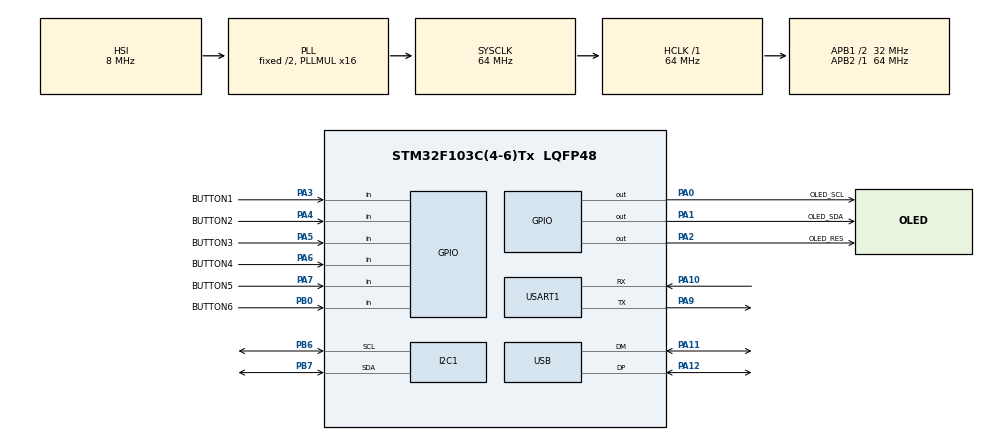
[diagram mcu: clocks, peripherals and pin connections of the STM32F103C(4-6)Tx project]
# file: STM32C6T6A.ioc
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Mcu.Family=STM32F1
Mcu.Name=STM32F103C(4-6)Tx
Mcu.Package=LQFP48
NVIC.PriorityGroup=NVIC_PRIORITYGROUP_4
PA0-WKUP.GPIO_Label=OLED_SCL
PA0-WKUP.Signal=GPIO_Output
PA1.GPIO_Label=OLED_SDA
PA1.Signal=GPIO_Output
PA10.Mode=Asynchronous
PA10.Signal=USART1_RX
PA11.Mode=Device
PA11.Signal=USB_DM
PA12.Mode=Device
PA12.Signal=USB_DP
PA13.Mode=Trace_Asynchronous_SW
PA13.Signal=SYS_JTMS-SWDIO
PA14.Mode=Trace_Asynchronous_SW
PA14.Signal=SYS_JTCK-SWCLK
PA2.GPIO_Label=OLED_RES
PA2.Signal=GPIO_Output
PA3.GPIO_Label=BUTTON1
PA3.GPIO_PuPd=GPIO_PULLDOWN
PA3.Signal=GPIO_Input
PA4.GPIO_Label=BUTTON2
PA4.GPIO_PuPd=GPIO_PULLDOWN
PA4.Signal=GPIO_Input
PA5.GPIO_Label=BUTTON3
PA5.GPIO_PuPd=GPIO_PULLDOWN
PA5.Signal=GPIO_Input
PA6.GPIO_Label=BUTTON4
PA6.GPIO_PuPd=GPIO_PULLDOWN
PA6.Signal=GPIO_Input
PA7.GPIO_Label=BUTTON5
PA7.GPIO_PuPd=GPIO_PULLDOWN
PA7.Signal=GPIO_Input
PA9.Mode=Asynchronous
PA9.Signal=USART1_TX
PB0.GPIO_Label=BUTTON6
PB0.GPIO_PuPd=GPIO_PULLDOWN
PB0.Signal=GPIO_Input
PB3.Mode=Trace_Asynchronous_SW
PB3.Signal=SYS_JTDO-TRACESWO
PB6.Mode=I2C
PB6.Signal=I2C1_SCL
PB7.Mode=I2C
PB7.Signal=I2C1_SDA
ProjectManager.HeapSize=0x200
ProjectManager.StackSize=0x400
ProjectManager.TargetToolchain=MDK-ARM V5.32
RCC.AHBFreq_Value=64000000
RCC.APB1CLKDivider=RCC_HCLK_DIV2
RCC.APB1Freq_Value=32000000
RCC.APB1TimFreq_Value=64000000
RCC.APB2Freq_Value=64000000
RCC.APB2TimFreq_Value=64000000
RCC.HCLKFreq_Value=64000000
RCC.PLLMUL=RCC_PLL_MUL16
RCC.PLLSource=RCC_PLLSOURCE_HSI_DIV2
RCC.PLLSourceVirtual=RCC_PLLSOURCE_HSI_DIV2
RCC.SYSCLKFreq_VALUE=64000000
RCC.SYSCLKSource=RCC_SYSCLKSOURCE_PLLCLK
RCC.USBFreq_Value=64000000
USART1.VirtualMode=VM_ASYNC
VP_RTC_VS_RTC_Activate.Mode=RTC_Enabled
board=custom

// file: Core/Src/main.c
/* USER CODE BEGIN Header */
/**
  ******************************************************************************
  * @file           : main.c
  * @brief          : Main program body
  ******************************************************************************
  * @attention
  *
  * Copyright (c) 2023 STMicroelectronics.
  * All rights reserved.
  *
  * This software is licensed under terms that can be found in the LICENSE file
  * in the root directory of this software component.
  * If no LICENSE file comes with this software, it is provided AS-IS.
  *
  ******************************************************************************
  */
/* USER CODE END Header */
#include "main.h"
#include "i2c.h"
#include "rtc.h"
#include "usart.h"
#include "gpio.h"

/* USER CODE BEGIN Includes */
#include "stdio.h"
#include "oled.h"
#include "bmp.h"
#include "multi_button.h"
int fputc(int ch, FILE *f)
{
 uint8_t temp[1] = {ch};
 HAL_UART_Transmit(&huart1, temp, 1, 2);
 return ch;
}
uint32_t num;
/* USER CODE END Includes */

void SystemClock_Config(void);
/* USER CODE BEGIN PFP */
void BTN1_PRESS_DOWN_Handler(void* btn);
void BTN1_PRESS_UP_Handler(void* btn);
void BTN2_PRESS_DOWN_Handler(void* btn);
void BTN2_PRESS_UP_Handler(void* btn);
void BTN3_PRESS_DOWN_Handler(void* btn);
void BTN3_PRESS_UP_Handler(void* btn);
void BTN4_PRESS_DOWN_Handler(void* btn);
void BTN4_PRESS_UP_Handler(void* btn);
void BTN5_PRESS_DOWN_Handler(void* btn);
void BTN5_PRESS_UP_Handler(void* btn);
void BTN6_PRESS_DOWN_Handler(void* btn);
void BTN6_PRESS_UP_Handler(void* btn);
/* USER CODE END PFP */

/* USER CODE BEGIN 0 */
static button btn1; //定义按键1
static button btn2; //定义按键2
static button btn3; //定义按键3
static button btn4; //定义按键4
static button btn5; //定义按键5
static button btn6; //定义按键6
uint8_t read_button1_GPIO()
{
	return HAL_GPIO_ReadPin(BUTTON1_GPIO_Port, BUTTON1_Pin);
}

uint8_t read_button2_GPIO()
{
	return HAL_GPIO_ReadPin(BUTTON2_GPIO_Port, BUTTON2_Pin);
}
uint8_t read_button3_GPIO()
{
	return HAL_GPIO_ReadPin(BUTTON3_GPIO_Port, BUTTON3_Pin);
}
uint8_t read_button4_GPIO()
{
	return HAL_GPIO_ReadPin(BUTTON4_GPIO_Port, BUTTON4_Pin);
}
uint8_t read_button5_GPIO()
{
	return HAL_GPIO_ReadPin(BUTTON5_GPIO_Port, BUTTON5_Pin);
}
uint8_t read_button6_GPIO()
{
	return HAL_GPIO_ReadPin(BUTTON6_GPIO_Port, BUTTON6_Pin);
}
uint8_t key_num = 0;
/* USER CODE END 0 */

int main(void)
{

  /* MCU Configuration--------------------------------------------------------*/

  /* Reset of all peripherals, Initializes the Flash interface and the Systick. */
  HAL_Init();

  /* Configure the system clock */
  SystemClock_Config();

  /* Initialize all configured peripherals */
  MX_GPIO_Init();
  MX_I2C1_Init();
  MX_RTC_Init();
  MX_USART1_UART_Init();
  //MX_USB_PCD_Init();
  /* USER CODE BEGIN 2 */
  //uint8_t t=' ';
	OLED_Init();
	OLED_ColorTurn(0);//0正常显示，1 反色显示
  OLED_DisplayTurn(0);//0正常显示 1 屏幕翻转显示

	button_init(&btn1, read_button1_GPIO, 1);
	button_init(&btn2, read_button2_GPIO, 1);
	button_init(&btn3, read_button3_GPIO, 1);
	button_init(&btn4, read_button4_GPIO, 1);
	button_init(&btn5, read_button5_GPIO, 1);
	button_init(&btn6, read_button6_GPIO, 1);
	button_attach(&btn1, PRESS_DOWN,       BTN1_PRESS_DOWN_Handler);
	button_attach(&btn1, PRESS_UP,         BTN1_PRESS_UP_Handler);
	button_attach(&btn2, PRESS_DOWN,       BTN2_PRESS_DOWN_Handler);
	button_attach(&btn2, PRESS_UP,         BTN2_PRESS_UP_Handler);
	button_attach(&btn3, PRESS_DOWN,       BTN3_PRESS_DOWN_Handler);
	button_attach(&btn3, PRESS_UP,         BTN3_PRESS_UP_Handler);
	button_attach(&btn4, PRESS_DOWN,       BTN4_PRESS_DOWN_Handler);
	button_attach(&btn4, PRESS_UP,         BTN4_PRESS_UP_Handler);
	button_attach(&btn5, PRESS_DOWN,       BTN5_PRESS_DOWN_Handler);
	button_attach(&btn5, PRESS_UP,         BTN5_PRESS_UP_Handler);
	button_attach(&btn6, PRESS_DOWN,       BTN6_PRESS_DOWN_Handler);
	button_attach(&btn6, PRESS_UP,         BTN6_PRESS_UP_Handler);
	//button_attach(&btn1, PRESS_REPEAT,     BTN1_PRESS_REPEAT_Handler);
	//button_attach(&btn1, SINGLE_CLICK,     BTN1_SINGLE_Click_Handler);
	//button_attach(&btn1, DOUBLE_CLICK,     BTN1_DOUBLE_Click_Handler);
	//button_attach(&btn1, LONG_RRESS_START, BTN1_LONG_RRESS_START_Handler);
	//button_attach(&btn1, LONG_PRESS_HOLD,  BTN1_LONG_PRESS_HOLD_Handler);
	//
	//button_attach(&btn2, PRESS_DOWN,       BTN2_PRESS_DOWN_Handler);
	//button_attach(&btn2, PRESS_UP,         BTN2_PRESS_UP_Handler);
	//button_attach(&btn2, PRESS_REPEAT,     BTN2_PRESS_REPEAT_Handler);
	//button_attach(&btn2, SINGLE_CLICK,     BTN2_SINGLE_Click_Handler);
	//button_attach(&btn2, DOUBLE_CLICK,     BTN2_DOUBLE_Click_Handler);
	//button_attach(&btn2, LONG_RRESS_START, BTN2_LONG_RRESS_START_Handler);
	//button_attach(&btn2, LONG_PRESS_HOLD,  BTN2_LONG_PRESS_HOLD_Handler);
	button_start(&btn1);
	button_start(&btn2);
	button_start(&btn3);
	button_start(&btn4);
	button_start(&btn5);
	button_start(&btn6);
	//make the timer invoking the button_ticks() interval 5ms.
	//This function is implemented by yourself.
	//__timer_start(button_ticks, 0, 5);
  /* USER CODE END 2 */

  /* Infinite loop */
  /* USER CODE BEGIN WHILE */
  while (1)
  {
		//printf("Hello World!\r\n");
    button_ticks();

    num++;
    OLED_ShowNum(0,0,num,10,24,0);
    OLED_Refresh();
		//OLED_ShowPicture(0,0,128,64,BMP1,1);
		//OLED_Refresh();
		//HAL_Delay(500);
		//OLED_Clear();
		//OLED_ShowChinese(0,0,0,16,1);//中
		//OLED_ShowChinese(18,0,1,16,1);//景
		//OLED_ShowChinese(36,0,2,16,1);//园
		//OLED_ShowChinese(54,0,3,16,1);//电
		//OLED_ShowChinese(72,0,4,16,1);//子
		//OLED_ShowChinese(90,0,5,16,1);//技
		//OLED_ShowChinese(108,0,6,16,1);//术
		//OLED_ShowString(8,16,"ZHONGJINGYUAN",16,1);
		//OLED_ShowString(20,32,"2014/05/01",16,1);
		//OLED_ShowString(0,48,"ASCII:",16,1);
		//OLED_ShowString(63,48,"CODE:",16,1);
		//OLED_ShowChar(48,48,t,16,1);//显示ASCII字符
		//t++;
		//if(t>'~')t=' ';
		//OLED_ShowNum(103,48,t,3,16,1);
		//OLED_Refresh();
		//HAL_Delay(500);
		//OLED_Clear();
		//OLED_ShowChinese(0,0,0,16,1);  //16*16 中
		//OLED_ShowChinese(16,0,0,24,1); //24*24 中
		//OLED_ShowChinese(24,20,0,32,1);//32*32 中
		//OLED_ShowChinese(64,0,0,64,1); //64*64 中
		//OLED_Refresh();
		//HAL_Delay(500);
		//OLED_Clear();
		//OLED_ShowString(0,0,"ABC",8,1);//6*8 “ABC”
		//OLED_ShowString(0,8,"ABC",12,1);//6*12 “ABC”
		//OLED_ShowString(0,20,"ABC",16,1);//8*16 “ABC”
		//OLED_ShowString(0,36,"ABC",24,1);//12*24 “ABC”
		//OLED_Refresh();
		//HAL_Delay(500);
		//OLED_ScrollDisplay(11,4,1);
    /* USER CODE END WHILE */

  }
}

void SystemClock_Config(void)
{
  RCC_OscInitTypeDef RCC_OscInitStruct = {0};
  RCC_ClkInitTypeDef RCC_ClkInitStruct = {0};
  RCC_PeriphCLKInitTypeDef PeriphClkInit = {0};

  /** Initializes the RCC Oscillators according to the specified parameters
  * in the RCC_OscInitTypeDef structure.
  */
  RCC_OscInitStruct.OscillatorType = RCC_OSCILLATORTYPE_HSI|RCC_OSCILLATORTYPE_LSI;
  RCC_OscInitStruct.HSIState = RCC_HSI_ON;
  RCC_OscInitStruct.HSICalibrationValue = RCC_HSICALIBRATION_DEFAULT;
  RCC_OscInitStruct.LSIState = RCC_LSI_ON;
  RCC_OscInitStruct.PLL.PLLState = RCC_PLL_ON;
  RCC_OscInitStruct.PLL.PLLSource = RCC_PLLSOURCE_HSI_DIV2;
  RCC_OscInitStruct.PLL.PLLMUL = RCC_PLL_MUL16;
  if (HAL_RCC_OscConfig(&RCC_OscInitStruct) != HAL_OK)
  {
    Error_Handler();
  }

  /** Initializes the CPU, AHB and APB buses clocks
  */
  RCC_ClkInitStruct.ClockType = RCC_CLOCKTYPE_HCLK|RCC_CLOCKTYPE_SYSCLK
                              |RCC_CLOCKTYPE_PCLK1|RCC_CLOCKTYPE_PCLK2;
  RCC_ClkInitStruct.SYSCLKSource = RCC_SYSCLKSOURCE_PLLCLK;
  RCC_ClkInitStruct.AHBCLKDivider = RCC_SYSCLK_DIV1;
  RCC_ClkInitStruct.APB1CLKDivider = RCC_HCLK_DIV2;
  RCC_ClkInitStruct.APB2CLKDivider = RCC_HCLK_DIV1;

  if (HAL_RCC_ClockConfig(&RCC_ClkInitStruct, FLASH_LATENCY_2) != HAL_OK)
  {
    Error_Handler();
  }
  PeriphClkInit.PeriphClockSelection = RCC_PERIPHCLK_RTC|RCC_PERIPHCLK_USB;
  PeriphClkInit.RTCClockSelection = RCC_RTCCLKSOURCE_LSI;
  PeriphClkInit.UsbClockSelection = RCC_USBCLKSOURCE_PLL;
  if (HAL_RCCEx_PeriphCLKConfig(&PeriphClkInit) != HAL_OK)
  {
    Error_Handler();
  }
}

/* USER CODE BEGIN 4 */

//void BTN1_PRESS_DOWN_Handler(void* btn)
//{
//	//do something...
//  printf("button1 down!\r\n");
//  OLED_ShowPicture(0,0,128,64,BMP1,1);
//  OLED_Refresh();
//  key_num = 1;
//}
//void BTN1_PRESS_UP_Handler(void* btn)
//{
//	//do something...
//  printf("button1 up!\r\n");
//}
//
//void BTN2_PRESS_DOWN_Handler(void* btn)
//{
//	//do something...
//  printf("button2 down!\r\n");
//  OLED_ShowPicture(0,0,128,64,BMP2,1);
//  OLED_Refresh();
//  key_num = 2;
//}
//void BTN2_PRESS_UP_Handler(void* btn)
//{
//	//do something...
//  printf("button2 up!\r\n");
//}
//
//void BTN3_PRESS_DOWN_Handler(void* btn)
//{
//	//do something...
//  printf("button3 down!\r\n");
//  OLED_ShowPicture(0,0,128,64,BMP2,1);
//  OLED_Refresh();
//  key_num = 3;
//}
//void BTN3_PRESS_UP_Handler(void* btn)
//{
//	//do something...
//  printf("button3 up!\r\n");
//}
//
//void BTN4_PRESS_DOWN_Handler(void* btn)
//{
//	//do something...
//  printf("button4 down!\r\n");
//  OLED_ShowPicture(0,0,128,64,BMP2,1);
//  OLED_Refresh();
//  key_num = 4;
//}
//void BTN4_PRESS_UP_Handler(void* btn)
//{
//	//do something...
//  printf("button4 up!\r\n");
//}
//
//void BTN5_PRESS_DOWN_Handler(void* btn)
//{
//	//do something...
//  printf("button5 down!\r\n");
//  OLED_ShowPicture(0,0,128,64,BMP2,1);
//  OLED_Refresh();
//  key_num = 5;
//}
//void BTN5_PRESS_UP_Handler(void* btn)
//{
//	//do something...
//  printf("button5 up!\r\n");
//}
//
//
//void BTN6_PRESS_DOWN_Handler(void* btn)
//{
//	//do something...
//  printf("button6 down!\r\n");
//  OLED_ShowPicture(0,0,128,64,BMP2,1);
//  OLED_Refresh();
//  key_num = 6;
//}
//void BTN6_PRESS_UP_Handler(void* btn)
//{
//	//do something...
//  printf("button6 up!\r\n");
//}
/* USER CODE END 4 */

void Error_Handler(void)
{
  __disable_irq();
  while (1)
  {
  }
}
